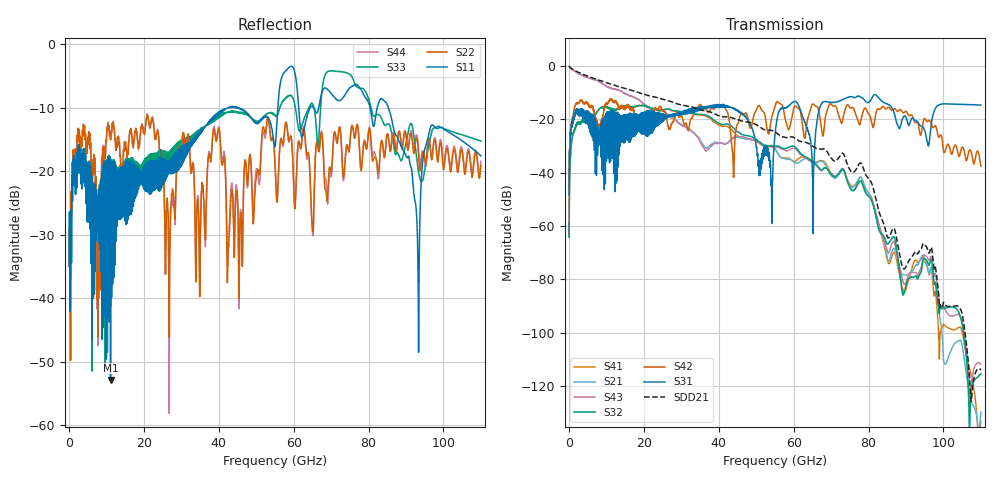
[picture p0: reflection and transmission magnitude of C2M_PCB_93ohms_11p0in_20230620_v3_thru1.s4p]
! Info: Touchstone file created by Circ.  Input file=C2M_PCB_93ohms_11p0in_20230620_v3.circ
# Hz S RI R 50
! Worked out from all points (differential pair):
!   11000 points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, 10 MHz to 110 GHz, reference 50 ohm
!   strongest paths, dB at 10 MHz, 27.51 GHz, 55.01 GHz, 82.51 GHz, 110 GHz:
!     S31: -48.3, -18.6, -26.1, -11.7, -14.7
!     S42: -48.1, -21.3, -15.1, -16.1, -37.6
!     S32: -64.3, -16.7, -30.0, -60.1, -115.4
!     S43: -0.2, -19.7, -30.4, -58.0, -111.8
!     S21: -0.2, -19.4, -31.1, -59.9, -129.7
!     S41: -64.3, -16.9, -31.2, -59.0, -133.3
!   taken as a pair (ports 3,1 in; 4,2 out), SDD21 dB: -0.2, -13.6, -24.7, -53.2, -114.0
!   lowest |S11| = -52.8 dB at 11.08 GHz (marker M1), VSWR 1.00, Z = 50.1 + j0.216 ohm
!   |S11| at or under -10 dB: start of sweep to 42.29 GHz; 45.23 GHz to 55.76 GHz (10.54 GHz wide, 20.9 % of centre); 85.29 GHz to end of sweep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
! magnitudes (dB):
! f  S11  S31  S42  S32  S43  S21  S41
! 10 MHz  -34.8  -48.3  -48.1  -64.3  -0.2  -0.2  -64.3
! 1.72 GHz  -23.6  -16.8  -14.3  -23.4  -2.2  -2.2  -23.4
! 11.08 GHz  -52.8  -33.3  -12.8  -16.1  -8.3  -8.2  -16.1
! 54.05 GHz  -13.1  -43.8  -19.7  -29.9  -30.3  -30.2  -30.3
! 60.08 GHz  -3.9  -13.4  -15.6  -30.2  -30.9  -36.0  -36.0
! 65.12 GHz  -9.8  -45.1  -14.3  -36.0  -36.4  -36.0  -35.6
! 110 GHz  -17.6  -14.7  -37.6  -115.4  -111.8  -129.7  -133.3
